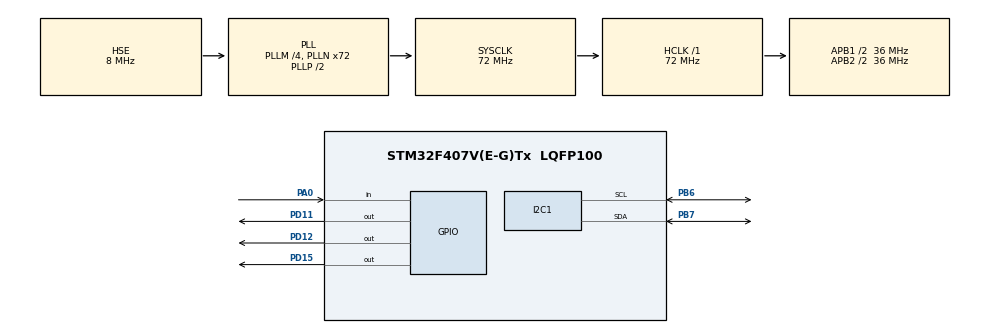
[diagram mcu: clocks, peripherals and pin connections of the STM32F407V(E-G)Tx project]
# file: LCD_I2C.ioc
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Mcu.Family=STM32F4
Mcu.Name=STM32F407V(E-G)Tx
Mcu.Package=LQFP100
NVIC.PriorityGroup=NVIC_PRIORITYGROUP_0
PA0-WKUP.Signal=GPIO_Input
PA13.Mode=Serial_Wire
PA13.Signal=SYS_JTMS-SWDIO
PA14.Mode=Serial_Wire
PA14.Signal=SYS_JTCK-SWCLK
PB6.Mode=I2C
PB6.Signal=I2C1_SCL
PB7.Mode=I2C
PB7.Signal=I2C1_SDA
PD11.Signal=GPIO_Output
PD12.Signal=GPIO_Output
PD15.Signal=GPIO_Output
PH0-OSC_IN.Mode=HSE-External-Oscillator
PH0-OSC_IN.Signal=RCC_OSC_IN
PH1-OSC_OUT.Mode=HSE-External-Oscillator
PH1-OSC_OUT.Signal=RCC_OSC_OUT
ProjectManager.HeapSize=0x200
ProjectManager.StackSize=0x400
ProjectManager.TargetToolchain=STM32CubeIDE
RCC.48MHZClocksFreq_Value=20571428.57142857
RCC.AHBFreq_Value=72000000
RCC.APB1CLKDivider=RCC_HCLK_DIV2
RCC.APB1Freq_Value=36000000
RCC.APB1TimFreq_Value=72000000
RCC.APB2CLKDivider=RCC_HCLK_DIV2
RCC.APB2Freq_Value=36000000
RCC.APB2TimFreq_Value=72000000
RCC.CortexFreq_Value=72000000
RCC.HCLKFreq_Value=72000000
RCC.HSE_VALUE=8000000
RCC.HSI_VALUE=16000000
RCC.LSE_VALUE=32768
RCC.PLLM=4
RCC.PLLN=72
RCC.PLLQ=7
RCC.PLLSourceVirtual=RCC_PLLSOURCE_HSE
RCC.SYSCLKFreq_VALUE=72000000
RCC.SYSCLKSource=RCC_SYSCLKSOURCE_PLLCLK
RCC.VCOOutputFreq_Value=144000000
board=STM32F407G-DISC1

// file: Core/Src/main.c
/* USER CODE BEGIN Header */
/**
  ******************************************************************************
  * @file           : main.c
  * @brief          : Main program body
  ******************************************************************************
  * @attention
  *
  * Copyright (c) 2024 STMicroelectronics.
  * All rights reserved.
  *
  * This software is licensed under terms that can be found in the LICENSE file
  * in the root directory of this software component.
  * If no LICENSE file comes with this software, it is provided AS-IS.
  *
  ******************************************************************************
  */
/* USER CODE END Header */
#include "main.h"

/* USER CODE BEGIN Includes */
#include "lcd16x2_i2c.h"
/* USER CODE END Includes */

I2C_HandleTypeDef hi2c1;

void SystemClock_Config(void);
static void MX_GPIO_Init(void);
static void MX_I2C1_Init(void);

int main(void)
{

  /* MCU Configuration--------------------------------------------------------*/

  /* Reset of all peripherals, Initializes the Flash interface and the Systick. */
  HAL_Init();

  /* Configure the system clock */
  SystemClock_Config();

  /* Initialize all configured peripherals */
  MX_GPIO_Init();
  MX_I2C1_Init();
  /* USER CODE BEGIN 2 */
  uint8_t sensorValue;

  if(lcd16x2_i2c_init(&hi2c1))
  {
	  HAL_GPIO_WritePin(GPIOD, GPIO_PIN_12, SET);
  }

  /* USER CODE END 2 */

  /* Infinite loop */
  while (1)
  {

    /* USER CODE BEGIN 3 */

	sensorValue = HAL_GPIO_ReadPin(GPIOA, GPIO_PIN_0);

	if(sensorValue == GPIO_PIN_RESET)
	{
		HAL_GPIO_WritePin(GPIOD, GPIO_PIN_15, GPIO_PIN_SET);
		lcd16x2_i2c_printf("Hello World!");
		lcd16x2_i2c_2ndLine();
		lcd16x2_i2c_printf("Obstacle detected...");
		HAL_GPIO_WritePin(GPIOD, GPIO_PIN_11, GPIO_PIN_SET);
		HAL_Delay(500);
	}
	else
	{
		HAL_GPIO_WritePin(GPIOD, GPIO_PIN_15, GPIO_PIN_RESET);
		HAL_GPIO_WritePin(GPIOD, GPIO_PIN_11, GPIO_PIN_RESET);
		lcd16x2_i2c_clear();
	}
  }
  lcd16x2_i2c_clear();
  /* USER CODE END 3 */
}

void SystemClock_Config(void)
{
  RCC_OscInitTypeDef RCC_OscInitStruct = {0};
  RCC_ClkInitTypeDef RCC_ClkInitStruct = {0};

  /** Configure the main internal regulator output voltage
  */
  __HAL_RCC_PWR_CLK_ENABLE();
  __HAL_PWR_VOLTAGESCALING_CONFIG(PWR_REGULATOR_VOLTAGE_SCALE1);

  /** Initializes the RCC Oscillators according to the specified parameters
  * in the RCC_OscInitTypeDef structure.
  */
  RCC_OscInitStruct.OscillatorType = RCC_OSCILLATORTYPE_HSE;
  RCC_OscInitStruct.HSEState = RCC_HSE_ON;
  RCC_OscInitStruct.PLL.PLLState = RCC_PLL_ON;
  RCC_OscInitStruct.PLL.PLLSource = RCC_PLLSOURCE_HSE;
  RCC_OscInitStruct.PLL.PLLM = 4;
  RCC_OscInitStruct.PLL.PLLN = 72;
  RCC_OscInitStruct.PLL.PLLP = RCC_PLLP_DIV2;
  RCC_OscInitStruct.PLL.PLLQ = 7;
  if (HAL_RCC_OscConfig(&RCC_OscInitStruct) != HAL_OK)
  {
    Error_Handler();
  }

  /** Initializes the CPU, AHB and APB buses clocks
  */
  RCC_ClkInitStruct.ClockType = RCC_CLOCKTYPE_HCLK|RCC_CLOCKTYPE_SYSCLK
                              |RCC_CLOCKTYPE_PCLK1|RCC_CLOCKTYPE_PCLK2;
  RCC_ClkInitStruct.SYSCLKSource = RCC_SYSCLKSOURCE_PLLCLK;
  RCC_ClkInitStruct.AHBCLKDivider = RCC_SYSCLK_DIV1;
  RCC_ClkInitStruct.APB1CLKDivider = RCC_HCLK_DIV2;
  RCC_ClkInitStruct.APB2CLKDivider = RCC_HCLK_DIV2;

  if (HAL_RCC_ClockConfig(&RCC_ClkInitStruct, FLASH_LATENCY_2) != HAL_OK)
  {
    Error_Handler();
  }
}

static void MX_I2C1_Init(void)
{

  hi2c1.Instance = I2C1;
  hi2c1.Init.ClockSpeed = 100000;
  hi2c1.Init.DutyCycle = I2C_DUTYCYCLE_2;
  hi2c1.Init.OwnAddress1 = 0;
  hi2c1.Init.AddressingMode = I2C_ADDRESSINGMODE_7BIT;
  hi2c1.Init.DualAddressMode = I2C_DUALADDRESS_DISABLE;
  hi2c1.Init.OwnAddress2 = 0;
  hi2c1.Init.GeneralCallMode = I2C_GENERALCALL_DISABLE;
  hi2c1.Init.NoStretchMode = I2C_NOSTRETCH_DISABLE;
  if (HAL_I2C_Init(&hi2c1) != HAL_OK)
  {
    Error_Handler();
  }

}

static void MX_GPIO_Init(void)
{
  GPIO_InitTypeDef GPIO_InitStruct = {0};

  /* GPIO Ports Clock Enable */
  __HAL_RCC_GPIOH_CLK_ENABLE();
  __HAL_RCC_GPIOA_CLK_ENABLE();
  __HAL_RCC_GPIOD_CLK_ENABLE();
  __HAL_RCC_GPIOB_CLK_ENABLE();

  /*Configure GPIO pin Output Level */
  HAL_GPIO_WritePin(GPIOD, GPIO_PIN_11|GPIO_PIN_12|GPIO_PIN_15, GPIO_PIN_RESET);

  /*Configure GPIO pin : PA0 */
  GPIO_InitStruct.Pin = GPIO_PIN_0;
  GPIO_InitStruct.Mode = GPIO_MODE_INPUT;
  GPIO_InitStruct.Pull = GPIO_NOPULL;
  HAL_GPIO_Init(GPIOA, &GPIO_InitStruct);

  /*Configure GPIO pins : PD11 PD12 PD15 */
  GPIO_InitStruct.Pin = GPIO_PIN_11|GPIO_PIN_12|GPIO_PIN_15;
  GPIO_InitStruct.Mode = GPIO_MODE_OUTPUT_PP;
  GPIO_InitStruct.Pull = GPIO_NOPULL;
  GPIO_InitStruct.Speed = GPIO_SPEED_FREQ_LOW;
  HAL_GPIO_Init(GPIOD, &GPIO_InitStruct);

}

void Error_Handler(void)
{
  __disable_irq();
  while (1)
  {
  }
}
